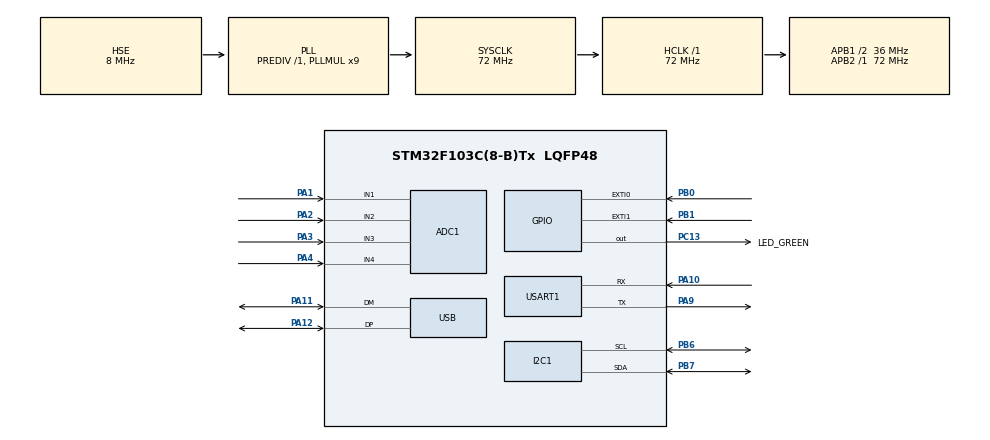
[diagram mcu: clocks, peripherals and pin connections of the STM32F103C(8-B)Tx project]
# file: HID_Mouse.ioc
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ADC1.Channel-0\#ChannelRegularConversion=ADC_CHANNEL_1
ADC1.Channel-1\#ChannelRegularConversion=ADC_CHANNEL_2
ADC1.ContinuousConvMode=ENABLE
ADC1.DataAlign=ADC_DATAALIGN_RIGHT
ADC1.DiscontinuousConvMode=DISABLE
ADC1.EnableAnalogWatchDog=false
ADC1.EnableRegularConversion=ENABLE
ADC1.ExternalTrigConv=ADC_SOFTWARE_START
ADC1.InjNumberOfConversion=0
ADC1.NbrOfConversion=2
ADC1.NbrOfConversionFlag=1
ADC1.Rank-0\#ChannelRegularConversion=1
ADC1.Rank-1\#ChannelRegularConversion=2
ADC1.SamplingTime-0\#ChannelRegularConversion=ADC_SAMPLETIME_71CYCLES_5
ADC1.SamplingTime-1\#ChannelRegularConversion=ADC_SAMPLETIME_71CYCLES_5
ADC1.ScanConvMode=ADC_SCAN_ENABLE
ADC1.master=1
Dma.ADC1.0.Direction=DMA_PERIPH_TO_MEMORY
Dma.ADC1.0.Instance=DMA1_Channel1
Dma.ADC1.0.MemDataAlignment=DMA_MDATAALIGN_WORD
Dma.ADC1.0.MemInc=DMA_MINC_ENABLE
Dma.ADC1.0.Mode=DMA_CIRCULAR
Dma.ADC1.0.PeriphDataAlignment=DMA_PDATAALIGN_WORD
Dma.ADC1.0.PeriphInc=DMA_PINC_DISABLE
Dma.ADC1.0.Priority=DMA_PRIORITY_LOW
Dma.Request0=ADC1
I2C1.I2C_Mode=I2C_Fast
Mcu.Family=STM32F1
Mcu.Name=STM32F103C(8-B)Tx
Mcu.Package=LQFP48
NVIC.DMA1_Channel1_IRQn=true\:0\:0\:false\:false\:true\:false
NVIC.EXTI0_IRQn=true\:2\:0\:true\:true\:true\:1\:true
NVIC.EXTI1_IRQn=true\:2\:0\:true\:true\:true\:2\:true
NVIC.PriorityGroup=NVIC_PRIORITYGROUP_4
NVIC.USART1_IRQn=true\:1\:0\:true\:true\:true\:3\:true
NVIC.USB_LP_CAN1_RX0_IRQn=true\:0\:0\:false\:false\:true\:false
PA1.Signal=ADCx_IN1
PA10.Mode=Asynchronous
PA10.Signal=USART1_RX
PA11.Mode=Device
PA11.Signal=USB_DM
PA12.Mode=Device
PA12.Signal=USB_DP
PA13.GPIO_Label=SWDIO
PA13.Mode=Serial_Wire
PA13.Signal=SYS_JTMS-SWDIO
PA14.GPIO_Label=SWCLK
PA14.Mode=Serial_Wire
PA14.Signal=SYS_JTCK-SWCLK
PA2.Signal=ADCx_IN2
PA3.Signal=ADCx_IN3
PA4.Signal=ADCx_IN4
PA9.Mode=Asynchronous
PA9.Signal=USART1_TX
PB0.GPIO_ModeDefaultEXTI=GPIO_MODE_IT_FALLING
PB0.GPIO_PuPd=GPIO_PULLUP
PB0.Signal=GPXTI0
PB1.GPIO_ModeDefaultEXTI=GPIO_MODE_IT_RISING
PB1.GPIO_PuPd=GPIO_PULLDOWN
PB1.Signal=GPXTI1
PB6.Mode=I2C
PB6.Signal=I2C1_SCL
PB7.Mode=I2C
PB7.Signal=I2C1_SDA
PC13-TAMPER-RTC.GPIO_Label=LED_GREEN
PC13-TAMPER-RTC.GPIO_Speed=GPIO_SPEED_FREQ_HIGH
PC13-TAMPER-RTC.Signal=GPIO_Output
PC14-OSC32_IN.Mode=LSE-External-Oscillator
PC14-OSC32_IN.Signal=RCC_OSC32_IN
PC15-OSC32_OUT.Mode=LSE-External-Oscillator
PC15-OSC32_OUT.Signal=RCC_OSC32_OUT
PD0-OSC_IN.Mode=HSE-External-Oscillator
PD0-OSC_IN.Signal=RCC_OSC_IN
PD1-OSC_OUT.Mode=HSE-External-Oscillator
PD1-OSC_OUT.Signal=RCC_OSC_OUT
ProjectManager.HeapSize=0x800
ProjectManager.StackSize=0x1000
ProjectManager.TargetToolchain=MDK-ARM V5
RCC.ADCPresc=RCC_ADCPCLK2_DIV6
RCC.AHBFreq_Value=72000000
RCC.APB1CLKDivider=RCC_HCLK_DIV2
RCC.APB1Freq_Value=36000000
RCC.APB1TimFreq_Value=72000000
RCC.APB2Freq_Value=72000000
RCC.APB2TimFreq_Value=72000000
RCC.EnbaleCSS=true
RCC.HCLKFreq_Value=72000000
RCC.PLLMUL=RCC_PLL_MUL9
RCC.PLLSourceVirtual=RCC_PLLSOURCE_HSE
RCC.SYSCLKFreq_VALUE=72000000
RCC.SYSCLKSource=RCC_SYSCLKSOURCE_PLLCLK
RCC.USBFreq_Value=48000000
RCC.USBPrescaler=RCC_USBCLKSOURCE_PLL_DIV1_5
SH.ADCx_IN1.0=ADC1_IN1,IN1
SH.ADCx_IN2.0=ADC1_IN2,IN2
SH.ADCx_IN3.0=ADC1_IN3,IN3
SH.ADCx_IN4.0=ADC1_IN4,IN4
USART1.VirtualMode=VM_ASYNC
USB_DEVICE.CLASS_NAME_FS=CUSTOMHID
USB_DEVICE.VirtualMode=CustomHid
USB_DEVICE.VirtualModeFS=Custom_Hid_FS
VP_CRC_VS_CRC.Mode=CRC_Activate
VP_USB_DEVICE_VS_USB_DEVICE_CUSTOM_HID_FS.Mode=CUSTOM_HID_FS
board=custom

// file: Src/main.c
/**
  ******************************************************************************
  * @file           : main.c
  * @brief          : Main program body
  ******************************************************************************
  * This notice applies to any and all portions of this file
  * that are not between comment pairs USER CODE BEGIN and
  * USER CODE END. Other portions of this file, whether
  * inserted by the user or by software development tools
  * are owned by their respective copyright owners.
  *
  * Copyright (c) 2018 STMicroelectronics International N.V.
  * All rights reserved.
  *
  * Redistribution and use in source and binary forms, with or without
  * modification, are permitted, provided that the following conditions are met:
  *
  * 1. Redistribution of source code must retain the above copyright notice,
  *    this list of conditions and the following disclaimer.
  * 2. Redistributions in binary form must reproduce the above copyright notice,
  *    this list of conditions and the following disclaimer in the documentation
  *    and/or other materials provided with the distribution.
  * 3. Neither the name of STMicroelectronics nor the names of other
  *    contributors to this software may be used to endorse or promote products
  *    derived from this software without specific written permission.
  * 4. This software, including modifications and/or derivative works of this
  *    software, must execute solely and exclusively on microcontroller or
  *    microprocessor devices manufactured by or for STMicroelectronics.
  * 5. Redistribution and use of this software other than as permitted under
  *    this license is void and will automatically terminate your rights under
  *    this license.
  *
  * THIS SOFTWARE IS PROVIDED BY STMICROELECTRONICS AND CONTRIBUTORS "AS IS"
  * AND ANY EXPRESS, IMPLIED OR STATUTORY WARRANTIES, INCLUDING, BUT NOT
  * LIMITED TO, THE IMPLIED WARRANTIES OF MERCHANTABILITY, FITNESS FOR A
  * PARTICULAR PURPOSE AND NON-INFRINGEMENT OF THIRD PARTY INTELLECTUAL PROPERTY
  * RIGHTS ARE DISCLAIMED TO THE FULLEST EXTENT PERMITTED BY LAW. IN NO EVENT
  * SHALL STMICROELECTRONICS OR CONTRIBUTORS BE LIABLE FOR ANY DIRECT, INDIRECT,
  * INCIDENTAL, SPECIAL, EXEMPLARY, OR CONSEQUENTIAL DAMAGES (INCLUDING, BUT NOT
  * LIMITED TO, PROCUREMENT OF SUBSTITUTE GOODS OR SERVICES; LOSS OF USE, DATA,
  * OR PROFITS; OR BUSINESS INTERRUPTION) HOWEVER CAUSED AND ON ANY THEORY OF
  * LIABILITY, WHETHER IN CONTRACT, STRICT LIABILITY, OR TORT (INCLUDING
  * NEGLIGENCE OR OTHERWISE) ARISING IN ANY WAY OUT OF THE USE OF THIS SOFTWARE,
  * EVEN IF ADVISED OF THE POSSIBILITY OF SUCH DAMAGE.
  *
  ******************************************************************************
  */
#include "main.h"
#include "stm32f1xx_hal.h"
#include "adc.h"
#include "crc.h"
#include "dma.h"
#include "i2c.h"
#include "usart.h"
#include "usb_device.h"
#include "gpio.h"

/* USER CODE BEGIN Includes */
#include "stdlib.h"
#include "string.h"
#include "BSP_LED.h"
#include "BSP_OLED.h"

#include "usbd_hid.h"
/* USER CODE END Includes */

/* USER CODE BEGIN PV */
/* Private variables ---------------------------------------------------------*/
uint8_t   Key_Flag;
uint32_t  ADC_Data[2];
  /*
 * buffer[0] - bit0: Left button 左键
 *             bit1: Right button 右键
 *             bit2: Middle button 中键
 * buffer[1] - Cursor movement X axis 水平移动
 * buffer[2] - Cursor movement Y axis 垂直移动
 * buffer[3] - Wheel vertical movement 滚轮转动
 */
int8_t Mouse_Buf[4] = {0x00, 0, 0, 0};
/* USER CODE END PV */

void SystemClock_Config(void);
static void MX_NVIC_Init(void);

/* USER CODE BEGIN PFP */
/* Private function prototypes -----------------------------------------------*/
#ifdef __GNUC__
/* With GCC, small printf (option LD Linker->Libraries->Small printf
   set to 'Yes') calls __io_putchar() */
#define PUTCHAR_PROTOTYPE int __io_putchar(int ch)
#else
#define PUTCHAR_PROTOTYPE int fputc(int ch, FILE *f)
#endif /* __GNUC__ */

/* USER CODE END PFP */

int main(void)
{

  /* MCU Configuration----------------------------------------------------------*/

  /* Reset of all peripherals, Initializes the Flash interface and the Systick. */
  HAL_Init();

  /* Configure the system clock */
  SystemClock_Config();

  /* Initialize all configured peripherals */
  MX_GPIO_Init();
  MX_DMA_Init();
  MX_ADC1_Init();
  MX_I2C1_Init();
  MX_CRC_Init();
  MX_USART1_UART_Init();
  MX_USB_DEVICE_Init();

  /* Initialize interrupts */
  MX_NVIC_Init();
  /* USER CODE BEGIN 2 */

//		OLED_Init();
//		OLED_Clear();
		HAL_ADCEx_Calibration_Start(&hadc1);
		HAL_ADC_Start_DMA(&hadc1,ADC_Data,2);
		Blink_LED(50,10);
//		HAL_UART_Receive_IT(&huart1,UART_RX_Buf,86);
		OLED_ShowString(15,4,(uint8_t *)"Initiate OK",12);
  /* USER CODE END 2 */

  /* Infinite loop */
  while (1)
  {

  /* USER CODE BEGIN 3 */
  Mouse_Buf[1]=ADC_Data[0];
  }

  /* USER CODE END 3 */

}

void SystemClock_Config(void)
{

  RCC_OscInitTypeDef RCC_OscInitStruct;
  RCC_ClkInitTypeDef RCC_ClkInitStruct;
  RCC_PeriphCLKInitTypeDef PeriphClkInit;

    /**Initializes the CPU, AHB and APB busses clocks
    */
  RCC_OscInitStruct.OscillatorType = RCC_OSCILLATORTYPE_HSE;
  RCC_OscInitStruct.HSEState = RCC_HSE_ON;
  RCC_OscInitStruct.HSEPredivValue = RCC_HSE_PREDIV_DIV1;
  RCC_OscInitStruct.HSIState = RCC_HSI_ON;
  RCC_OscInitStruct.PLL.PLLState = RCC_PLL_ON;
  RCC_OscInitStruct.PLL.PLLSource = RCC_PLLSOURCE_HSE;
  RCC_OscInitStruct.PLL.PLLMUL = RCC_PLL_MUL9;
  if (HAL_RCC_OscConfig(&RCC_OscInitStruct) != HAL_OK)
  {
    _Error_Handler(__FILE__, __LINE__);
  }

    /**Initializes the CPU, AHB and APB busses clocks
    */
  RCC_ClkInitStruct.ClockType = RCC_CLOCKTYPE_HCLK|RCC_CLOCKTYPE_SYSCLK
                              |RCC_CLOCKTYPE_PCLK1|RCC_CLOCKTYPE_PCLK2;
  RCC_ClkInitStruct.SYSCLKSource = RCC_SYSCLKSOURCE_PLLCLK;
  RCC_ClkInitStruct.AHBCLKDivider = RCC_SYSCLK_DIV1;
  RCC_ClkInitStruct.APB1CLKDivider = RCC_HCLK_DIV2;
  RCC_ClkInitStruct.APB2CLKDivider = RCC_HCLK_DIV1;

  if (HAL_RCC_ClockConfig(&RCC_ClkInitStruct, FLASH_LATENCY_2) != HAL_OK)
  {
    _Error_Handler(__FILE__, __LINE__);
  }

  PeriphClkInit.PeriphClockSelection = RCC_PERIPHCLK_ADC|RCC_PERIPHCLK_USB;
  PeriphClkInit.AdcClockSelection = RCC_ADCPCLK2_DIV6;
  PeriphClkInit.UsbClockSelection = RCC_USBCLKSOURCE_PLL_DIV1_5;
  if (HAL_RCCEx_PeriphCLKConfig(&PeriphClkInit) != HAL_OK)
  {
    _Error_Handler(__FILE__, __LINE__);
  }

    /**Enables the Clock Security System
    */
  HAL_RCC_EnableCSS();

    /**Configure the Systick interrupt time
    */
  HAL_SYSTICK_Config(HAL_RCC_GetHCLKFreq()/1000);

    /**Configure the Systick
    */
  HAL_SYSTICK_CLKSourceConfig(SYSTICK_CLKSOURCE_HCLK);

  /* SysTick_IRQn interrupt configuration */
  HAL_NVIC_SetPriority(SysTick_IRQn, 0, 0);
}

/**
  * @brief NVIC Configuration.
  * @retval None
  */
static void MX_NVIC_Init(void)
{
  /* EXTI0_IRQn interrupt configuration */
  HAL_NVIC_SetPriority(EXTI0_IRQn, 2, 0);
  HAL_NVIC_EnableIRQ(EXTI0_IRQn);
  /* EXTI1_IRQn interrupt configuration */
  HAL_NVIC_SetPriority(EXTI1_IRQn, 2, 0);
  HAL_NVIC_EnableIRQ(EXTI1_IRQn);
  /* USART1_IRQn interrupt configuration */
  HAL_NVIC_SetPriority(USART1_IRQn, 1, 0);
  HAL_NVIC_EnableIRQ(USART1_IRQn);
}

/* USER CODE BEGIN 4 */
PUTCHAR_PROTOTYPE
{
  /* Place your implementation of fputc here */
  /* e.g. write a character to the USART1 and Loop until the end of transmission */
  HAL_UART_Transmit(&huart1,(uint8_t *)&ch,1,0xFF);
  return ch;
}

void HAL_GPIO_EXTI_Callback(uint16_t GPIO_Pin)
{
	if(GPIO_Pin==GPIO_PIN_0)
	{
		   if( HAL_GPIO_ReadPin(GPIOB,GPIO_PIN_0)==GPIO_PIN_RESET )
		   {
//			  HAL_Delay(1);
//			  if( HAL_GPIO_ReadPin(GPIOB,GPIO_PIN_1)==GPIO_PIN_SET )
//			    {
//		       OLED_ShowString(0,0,(uint8_t *)"Both",16);
//			    }
//						else
//						   {
//						   }
	      Key_Flag=1;//start PID Set
				Mouse_Buf[3]= -1;
				USBD_HID_SendReport(&hUsbDeviceFS,(uint8_t *)Mouse_Buf, 4);

      }
	}
  if(GPIO_Pin==GPIO_PIN_1)
	   {
					if( HAL_GPIO_ReadPin(GPIOB,GPIO_PIN_1)==GPIO_PIN_SET )
						{
	//					HAL_Delay(1);
	//			    if( HAL_GPIO_ReadPin(GPIOB,GPIO_PIN_0)==GPIO_PIN_RESET )
	//			      {
	//			        OLED_Clear();
	//		         OLED_ShowString(0,0,(uint8_t *)"Both",16);
	//			      }
	//						else
	//						   {
	//						   }
									Key_Flag=0;//Stop PID Set
							    Mouse_Buf[3]=1;
							    USBD_HID_SendReport(&hUsbDeviceFS,(uint8_t *)Mouse_Buf, 4);

							}
				}
}

void HAL_UART_RxCpltCallback(UART_HandleTypeDef *huart)
{
//	if(huart->Instance==USART1)
//	{
//		HAL_UART_Receive_IT(&huart1,UART_RX_Buf,86);
//	}
}

/* USER CODE END 4 */

void _Error_Handler(char *file, int line)
{
  while(1)
  {
  }
}

/************************ (C) COPYRIGHT STMicroelectronics *****END OF FILE****/
